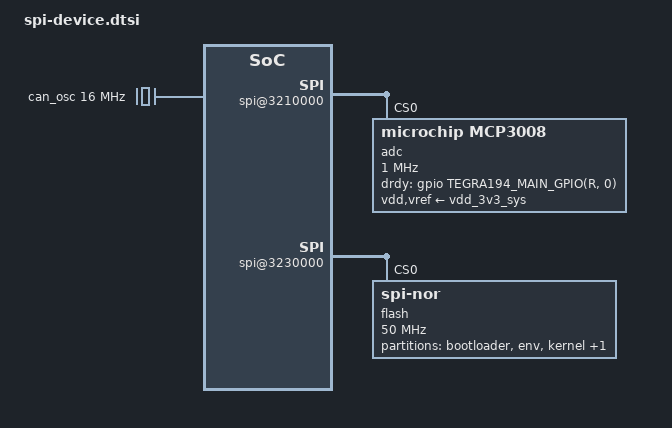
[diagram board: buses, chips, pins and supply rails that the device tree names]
/*
 * SPI Device Configuration Device Tree for NVIDIA Jetson
 *
 * This file demonstrates:
 * - SPI controller configuration
 * - SPI device nodes for common peripherals
 * - Chip select configuration
 * - DMA support
 * - GPIO-based chip select
 * - Clock and pinmux configuration
 *
 * Compatible with: Jetson TX2, Xavier, Orin
 * Kernel: 5.10+
 *
 * Include this file in your main DTS:
 *   #include "spi-device.dtsi"
 */

#include <dt-bindings/gpio/tegra194-gpio.h>
#include <dt-bindings/interrupt-controller/irq.h>

/ {
    /*
     * SPI1 Controller Configuration
     * Typically SPI1 on 40-pin header
     */
    spi@3210000 {
        compatible = "nvidia,tegra194-spi";
        status = "okay";

        /* DMA support for improved performance */
        dmas = <&gpcdma 15>, <&gpcdma 15>;
        dma-names = "rx", "tx";

        /* SPI clock frequency (max depends on device) */
        spi-max-frequency = <25000000>;  /* 25 MHz */

        /* Number of chip selects */
        num-cs = <2>;

        /* Pinmux configuration */
        pinctrl-names = "default";
        pinctrl-0 = <&spi1_pins>;

        /*
         * MCP3008: 8-Channel 10-bit ADC
         * Microchip
         * Max SPI frequency: 3.6 MHz (VDD=5V), 1.35 MHz (VDD=2.7V)
         */
        adc@0 {
            compatible = "microchip,mcp3008";
            reg = <0>;  /* Chip select 0 */
            status = "okay";

            spi-max-frequency = <1000000>;  /* 1 MHz */
            spi-cpol;  /* Clock polarity: idle high */
            spi-cpha;  /* Clock phase: sample on trailing edge */

            /* SPI mode 0: CPOL=0, CPHA=0 (most common)
             * SPI mode 1: CPOL=0, CPHA=1
             * SPI mode 2: CPOL=1, CPHA=0
             * SPI mode 3: CPOL=1, CPHA=1
             */

            /* Power supply */
            vdd-supply = <&vdd_3v3_sys>;
            vref-supply = <&vdd_3v3_sys>;

            /* Data ready GPIO (optional) */
            drdy-gpios = <&gpio TEGRA194_MAIN_GPIO(R, 0) GPIO_ACTIVE_HIGH>;

            #io-channel-cells = <1>;
        };

        /*
         * MCP2515: CAN Controller with SPI Interface
         * Microchip
         * Max SPI frequency: 10 MHz
         */
        can@1 {
            compatible = "microchip,mcp2515";
            reg = <1>;  /* Chip select 1 */
            status = "disabled";

            spi-max-frequency = <10000000>;  /* 10 MHz */

            /* Interrupt pin for CAN events */
            interrupt-parent = <&gpio>;
            interrupts = <TEGRA194_MAIN_GPIO(R, 1) IRQ_TYPE_EDGE_FALLING>;

            /* CAN oscillator frequency */
            clocks = <&can_osc>;

            /* VDD supply */
            vdd-supply = <&vdd_5v0_sys>;
            xceiver-supply = <&vdd_5v0_sys>;

            /* GPIO for CAN transceiver control */
            mcp251x,stay-awake;
        };
    };

    /*
     * SPI2 Controller Configuration
     * Typically SPI2 on carrier board
     */
    spi@3230000 {
        compatible = "nvidia,tegra194-spi";
        status = "okay";

        dmas = <&gpcdma 16>, <&gpcdma 16>;
        dma-names = "rx", "tx";

        spi-max-frequency = <50000000>;  /* 50 MHz */
        num-cs = <1>;

        pinctrl-names = "default";
        pinctrl-0 = <&spi2_pins>;

        /*
         * W25Q128: 128Mbit SPI Flash Memory
         * Winbond
         * Max SPI frequency: 104 MHz (read), 50 MHz (write)
         */
        flash@0 {
            compatible = "jedec,spi-nor";
            reg = <0>;
            status = "okay";

            spi-max-frequency = <50000000>;
            m25p,fast-read;

            /* Partition table */
            partitions {
                compatible = "fixed-partitions";
                #address-cells = <1>;
                #size-cells = <1>;

                partition@0 {
                    label = "bootloader";
                    reg = <0x000000 0x080000>;  /* 512 KB */
                    read-only;
                };

                partition@80000 {
                    label = "env";
                    reg = <0x080000 0x010000>;  /* 64 KB */
                };

                partition@90000 {
                    label = "kernel";
                    reg = <0x090000 0x400000>;  /* 4 MB */
                };

                partition@490000 {
                    label = "rootfs";
                    reg = <0x490000 0xB70000>;  /* 11.4 MB */
                };
            };
        };
    };

    /*
     * SPI3 Controller Configuration with GPIO Chip Select
     * Demonstrates custom GPIO-based CS
     */
    spi@3240000 {
        compatible = "nvidia,tegra194-spi";
        status = "disabled";

        dmas = <&gpcdma 17>, <&gpcdma 17>;
        dma-names = "rx", "tx";

        spi-max-frequency = <25000000>;

        /* GPIO-based chip select */
        cs-gpios = <&gpio TEGRA194_MAIN_GPIO(S, 0) GPIO_ACTIVE_LOW>,
                   <&gpio TEGRA194_MAIN_GPIO(S, 1) GPIO_ACTIVE_LOW>;

        pinctrl-names = "default";
        pinctrl-0 = <&spi3_pins>;

        /*
         * NRF24L01+: 2.4GHz Wireless Transceiver
         * Nordic Semiconductor
         * Max SPI frequency: 10 MHz
         */
        nrf24@0 {
            compatible = "nordic,nrf24l01";
            reg = <0>;
            status = "okay";

            spi-max-frequency = <10000000>;

            /* CE (Chip Enable) and IRQ pins */
            ce-gpios = <&gpio TEGRA194_MAIN_GPIO(S, 2) GPIO_ACTIVE_HIGH>;
            interrupt-parent = <&gpio>;
            interrupts = <TEGRA194_MAIN_GPIO(S, 3) IRQ_TYPE_EDGE_FALLING>;

            vdd-supply = <&vdd_3v3_sys>;
        };

        /*
         * RFM95W: LoRa Transceiver Module
         * HopeRF
         * Max SPI frequency: 10 MHz
         */
        rfm95@1 {
            compatible = "semtech,sx1276";
            reg = <1>;
            status = "disabled";

            spi-max-frequency = <10000000>;

            /* Reset and DIO pins */
            reset-gpios = <&gpio TEGRA194_MAIN_GPIO(S, 4) GPIO_ACTIVE_LOW>;
            interrupt-parent = <&gpio>;
            interrupts = <TEGRA194_MAIN_GPIO(S, 5) IRQ_TYPE_EDGE_RISING>;

            vdd-supply = <&vdd_3v3_sys>;
        };
    };

    /*
     * QSPI Controller Configuration
     * For high-speed flash memory
     */
    spi@3270000 {
        compatible = "nvidia,tegra194-qspi";
        status = "disabled";

        dmas = <&gpcdma 5>, <&gpcdma 5>;
        dma-names = "rx", "tx";

        spi-max-frequency = <133000000>;  /* 133 MHz for QSPI */

        /*
         * QSPI Flash Memory
         * Supports Quad SPI (4-bit data bus)
         */
        qspi-flash@0 {
            compatible = "jedec,spi-nor";
            reg = <0>;
            status = "okay";

            spi-max-frequency = <133000000>;
            spi-rx-bus-width = <4>;  /* Quad mode */
            spi-tx-bus-width = <4>;
            m25p,fast-read;

            /* Partitions for QSPI flash */
            partitions {
                compatible = "fixed-partitions";
                #address-cells = <1>;
                #size-cells = <1>;

                qspi_boot@0 {
                    label = "qspi-boot";
                    reg = <0x00000000 0x00100000>;
                };

                qspi_root@100000 {
                    label = "qspi-root";
                    reg = <0x00100000 0x00F00000>;
                };
            };
        };
    };

    /*
     * SPIDEV User-space Interface
     * For custom SPI devices controlled from userspace
     */
    spi@3300000 {
        compatible = "nvidia,tegra194-spi";
        status = "disabled";

        spi-max-frequency = <25000000>;
        num-cs = <1>;

        /*
         * Generic SPIDEV Interface
         * Access from userspace via /dev/spidev4.0
         */
        spidev@0 {
            compatible = "rohm,dh2228fv";  /* Generic spidev compatible */
            reg = <0>;
            status = "okay";

            spi-max-frequency = <25000000>;
        };
    };

    /*
     * Pinmux Configuration for SPI
     */
    pinmux@2430000 {
        /* SPI1 Pinmux */
        spi1_pins: spi1-pins {
            spi1-mosi-miso-sck {
                nvidia,pins = "spi1_mosi_pz5",
                             "spi1_miso_pz4",
                             "spi1_sck_pz3";
                nvidia,function = "spi1";
                nvidia,pull = <TEGRA_PIN_PULL_NONE>;
                nvidia,tristate = <TEGRA_PIN_DISABLE>;
                nvidia,enable-input = <TEGRA_PIN_ENABLE>;
                nvidia,io-high-voltage = <TEGRA_PIN_DISABLE>;
            };

            spi1-cs0 {
                nvidia,pins = "spi1_cs0_pz6";
                nvidia,function = "spi1";
                nvidia,pull = <TEGRA_PIN_PULL_UP>;
                nvidia,tristate = <TEGRA_PIN_DISABLE>;
                nvidia,enable-input = <TEGRA_PIN_ENABLE>;
            };

            spi1-cs1 {
                nvidia,pins = "spi1_cs1_pz7";
                nvidia,function = "spi1";
                nvidia,pull = <TEGRA_PIN_PULL_UP>;
                nvidia,tristate = <TEGRA_PIN_DISABLE>;
                nvidia,enable-input = <TEGRA_PIN_ENABLE>;
            };
        };

        /* SPI2 Pinmux */
        spi2_pins: spi2-pins {
            spi2-mosi-miso-sck-cs0 {
                nvidia,pins = "spi2_mosi_pw0",
                             "spi2_miso_pw1",
                             "spi2_sck_pw2",
                             "spi2_cs0_pw3";
                nvidia,function = "spi2";
                nvidia,pull = <TEGRA_PIN_PULL_NONE>;
                nvidia,tristate = <TEGRA_PIN_DISABLE>;
                nvidia,enable-input = <TEGRA_PIN_ENABLE>;
                nvidia,io-high-voltage = <TEGRA_PIN_DISABLE>;
            };
        };

        /* SPI3 Pinmux */
        spi3_pins: spi3-pins {
            spi3-mosi-miso-sck {
                nvidia,pins = "spi3_mosi_px0",
                             "spi3_miso_px1",
                             "spi3_sck_px2";
                nvidia,function = "spi3";
                nvidia,pull = <TEGRA_PIN_PULL_NONE>;
                nvidia,tristate = <TEGRA_PIN_DISABLE>;
                nvidia,enable-input = <TEGRA_PIN_ENABLE>;
            };

            /* CS handled by GPIO */
        };
    };

    /*
     * External oscillator for CAN controller
     */
    can_osc: can-oscillator {
        compatible = "fixed-clock";
        #clock-cells = <0>;
        clock-frequency = <16000000>;  /* 16 MHz */
    };
};

/*
 * Usage Notes:
 * ============
 *
 * 1. Include in main DTS:
 *    #include "spi-device.dtsi"
 *
 * 2. Enable specific devices:
 *    &adc@0 {
 *        status = "okay";
 *    };
 *
 * 3. Compile device tree:
 *    dtc -I dts -O dtb -o tegra194-custom.dtb tegra194-custom.dts
 *
 * 4. Check SPI buses:
 *    ls /dev/spi*
 *    ls /sys/class/spi_master/
 *
 * 5. Test with spidev:
 *    # Install tools
 *    sudo apt-get install spi-tools
 *
 *    # Test SPI device
 *    spi-config -d /dev/spidev1.0 -q
 *    spi-pipe -d /dev/spidev1.0 -s 1000000
 *
 * 6. Read/Write SPI:
 *    # Python example
 *    import spidev
 *    spi = spidev.SpiDev()
 *    spi.open(1, 0)
 *    spi.max_speed_hz = 1000000
 *    data = spi.xfer2([0x01, 0x80, 0x00])
 *
 * 7. Debug SPI:
 *    dmesg | grep spi
 *    cat /sys/class/spi_master/spi1/device/spi1.0/modalias
 *
 * SPI Bus Numbers:
 * ================
 * Jetson Xavier NX:
 *   SPI1: /dev/spidev0.0
 *   SPI2: /dev/spidev1.0
 *
 * Verify with: ls -l /dev/spi*
 *
 * SPI Modes:
 * ==========
 * Mode 0 (CPOL=0, CPHA=0): Most common
 *   - Clock idle: LOW
 *   - Sample: Rising edge
 *   - Shift: Falling edge
 *
 * Mode 1 (CPOL=0, CPHA=1):
 *   - Clock idle: LOW
 *   - Sample: Falling edge
 *   - Shift: Rising edge
 *
 * Mode 2 (CPOL=1, CPHA=0):
 *   - Clock idle: HIGH
 *   - Sample: Falling edge
 *   - Shift: Rising edge
 *
 * Mode 3 (CPOL=1, CPHA=1):
 *   - Clock idle: HIGH
 *   - Sample: Rising edge
 *   - Shift: Falling edge
 *
 * Specify mode in DT:
 *   Mode 0: (no spi-cpol, no spi-cpha)
 *   Mode 1: spi-cpha;
 *   Mode 2: spi-cpol;
 *   Mode 3: spi-cpol; spi-cpha;
 *
 * Performance Tuning:
 * ===================
 * 1. Enable DMA for large transfers
 * 2. Increase SPI frequency (within device limits)
 * 3. Use spi-cs-high if device requires active-high CS
 * 4. Adjust DMA buffer sizes in driver
 *
 * Troubleshooting:
 * ================
 * - No /dev/spidev:
 *   - Check driver is loaded: lsmod | grep spi
 *   - Verify compatible string
 *   - Check kernel config: CONFIG_SPI_SPIDEV=y
 *
 * - Transfer errors:
 *   - Verify wiring (MOSI, MISO, SCK, CS, GND)
 *   - Check voltage levels (3.3V vs 5V)
 *   - Reduce SPI frequency
 *   - Verify SPI mode matches device
 *   - Check signal quality with oscilloscope
 *
 * - CS not working:
 *   - Verify cs-gpios if using GPIO CS
 *   - Check pinmux configuration
 *   - Ensure CS pull-up resistor if needed
 *
 * - Data corruption:
 *   - Reduce SPI frequency
 *   - Add delays between transfers
 *   - Check for ground loops
 *   - Use shorter cables
 *   - Add termination resistors
 *
 * Common SPI Devices:
 * ===================
 * ADC: MCP3008, ADS1256, MAX1168
 * Flash: W25Q128, AT25SF128, MX25L12835F
 * CAN: MCP2515, MCP2517FD
 * Wireless: NRF24L01+, RFM95W, ESP8266
 * Display: ILI9341, ST7735, SSD1306
 * Sensor: BME280, MPU9250, LSM9DS1
 */
